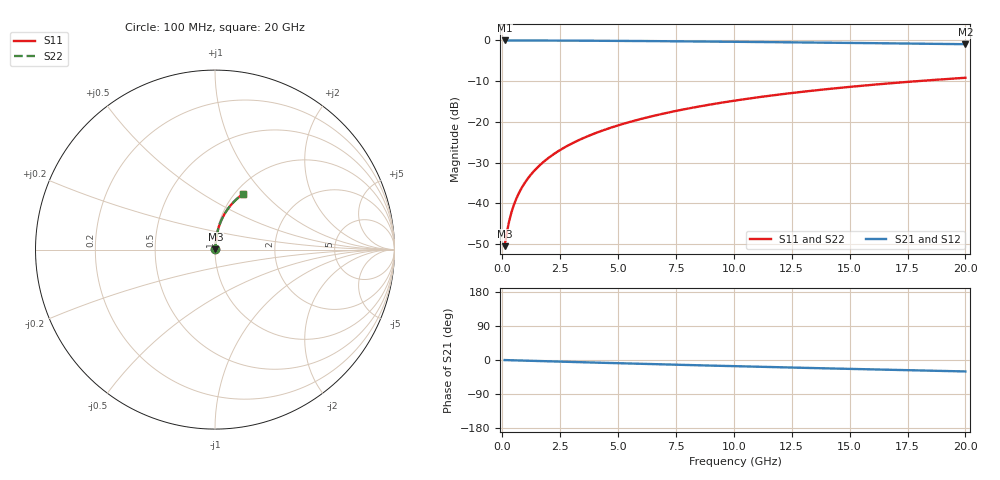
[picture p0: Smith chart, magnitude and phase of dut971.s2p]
! Touchstone file exported from HFSS 2024.1.0
!  File:  C:/UserFiles/LocalFiles/RDL_TSV_Batchsim/temp_RDL_bottom_971_1779943041.aedt
!  Generated:  12:40:21 PM May 28, 2026
!  Design:  RDL_bottom
!  Project:  temp_RDL_bottom_971_1779943041
!  Setup:  Setup1
!  Solution:  Sweep
! Variables:
!  dtsv = 10.80580581um
!  hbump = 3um
!  htsv = 92.08um
!  ldown = 367.13um
!  lrdl = 100um
!  p = 40
!  p1 = 52.42um
!  rhole = 1um
!  t = 450um
!  tdown = 3.83um
!  trdl = 3.915915916um
!  wdown = 15.75um
!  wrdl = 20um
# GHz S MA R 50.000000
! Terminal data exported
! Port[1] = RDL1_T1
! Port[2] = RDL1_T2
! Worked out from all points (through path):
!   200 points, 100 MHz to 20 GHz, reference 50 ohm
!   highest |S21| = -0.02 dB at 100 MHz (marker M1); lowest = -0.9 dB at 20 GHz (marker M2)
!   group delay of S21, straight-line fit = 4.18 ps
!   lowest |S11| = -50.5 dB at 100 MHz (marker M3), VSWR 1.01, Z = 50.2 + j0.189 ohm
!   |S11| at or under -10 dB: start of sweep to 17.95 GHz
!   |S22| runs from -50.5 to -9.2 dB; largest |S21 - S12| = 6.4e-15
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0.1  0.002971 39.3  0.9977 -0.2  0.9977 -0.2  0.002971 39.3
! Gamma 0 0 0 0
! Port Impedance 50 0 50 0
0.2  0.004424 57.8  0.9976 -0.4  0.9976 -0.4  0.004424 57.8
0.3  0.006083 66.4  0.9975 -0.5  0.9975 -0.5  0.006083 66.4
0.4  0.007798 71.1  0.9974 -0.7  0.9974 -0.7  0.007798 71.1
0.5  0.009532 74.1  0.9974 -0.9  0.9974 -0.9  0.009532 74.1
0.6  0.01127 76.2  0.9973 -1.0  0.9973 -1.0  0.01127 76.2
0.8  0.01478 78.9  0.9971 -1.4  0.9971 -1.4  0.01478 78.9
1.1  0.02007 81.2  0.9967 -1.9  0.9967 -1.9  0.02007 81.2
1.5  0.02718 82.7  0.9962 -2.6  0.9962 -2.6  0.02718 82.7
1.8  0.03253 83.3  0.9957 -3.1  0.9957 -3.1  0.03253 83.3
2.1  0.03791 83.6  0.9951 -3.6  0.9951 -3.6  0.03791 83.6
2.7  0.04868 83.8  0.9937 -4.6  0.9937 -4.6  0.04868 83.8
3.5  0.06312 83.6  0.9915 -6.0  0.9915 -6.0  0.06312 83.6
4.2  0.07581 83.2  0.9891 -7.1  0.9891 -7.1  0.0758 83.2
5  0.09035 82.6  0.986 -8.5  0.986 -8.5  0.09035 82.6
5.9  0.1068 81.7  0.9822 -9.9  0.9822 -9.9  0.1068 81.7
6.8  0.1232 80.8  0.978 -11.3  0.978 -11.3  0.1232 80.8
8.3  0.1506 79.0  0.9704 -13.7  0.9704 -13.7  0.1506 79.0
10.1  0.1832 76.7  0.9605 -16.4  0.9605 -16.4  0.1832 76.7
13.4  0.2413 72.2  0.9409 -21.2  0.9409 -21.2  0.2413 72.2
16.7  0.2963 67.6  0.9198 -25.8  0.9198 -25.8  0.2963 67.7
20  0.3474 63.2  0.8977 -30.2  0.8977 -30.2  0.3474 63.2
